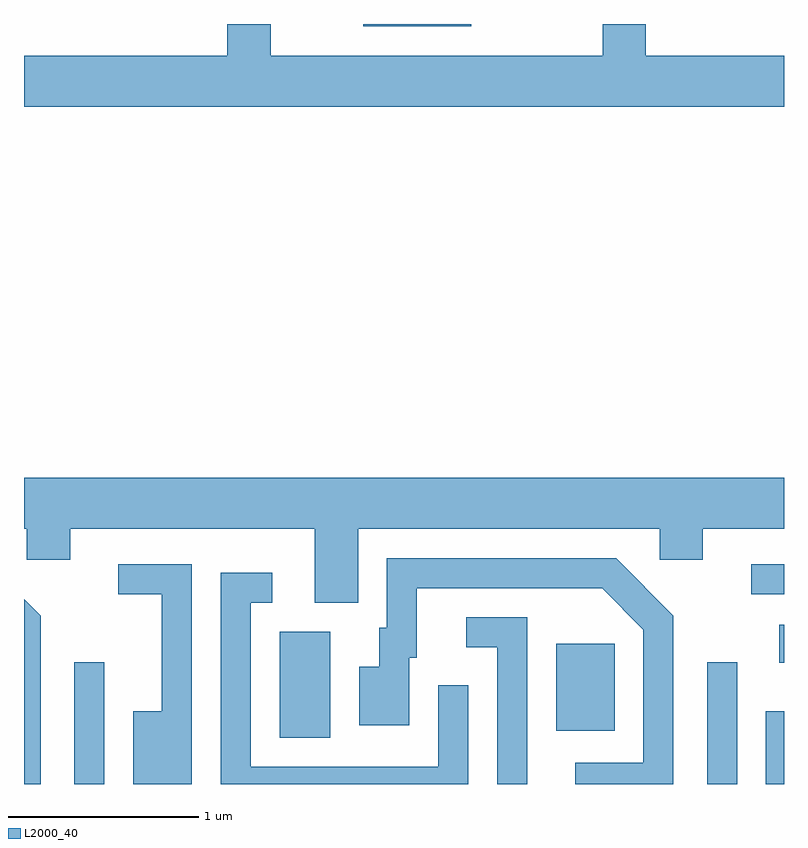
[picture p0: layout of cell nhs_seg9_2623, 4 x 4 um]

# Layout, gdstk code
import gdstk
lib = gdstk.Library(unit=1e-6, precision=1e-09)
def R(c, l, rs):  # rectangles x0, y0, x1, y1
    for r in rs: c.add(gdstk.rectangle(r[:2], r[2:], *l))
def P(c, l, *ps):  # polygons
    for p in ps: c.add(gdstk.Polygon(p, *l))
L2000_40 = (2000, 40)

nhs_seg9_2623 = lib.new_cell('nhs_seg9_2623')
R(nhs_seg9_2623, L2000_40, [(261.876,2030.432,262.034,2031.073), (265.206,2030.432,265.364,2031.073), (265.516,2030.432,265.611,2030.814), (262.956,2030.676,263.224,2031.234), (264.411,2030.711,264.719,2031.169), (265.586,2031.071,265.611,2031.269), (265.438,2031.431,265.611,2031.589), (263.396,2034.421,263.964,2034.432)])
P(nhs_seg9_2623, L2000_40, [(265.611,2034.264),(264.884,2034.264),(264.884,2034.432),(264.656,2034.432),(264.656,2034.264),(262.909,2034.264),(262.909,2034.432),(262.681,2034.432),(262.681,2034.264),(261.611,2034.264),(261.611,2033.996),(265.611,2033.996)],
  [(263.369,2031.776),(264.956,2031.776),(264.956,2031.611),(265.184,2031.611),(265.184,2031.776),(265.611,2031.776),(265.611,2032.044),(261.611,2032.044),(261.611,2031.776),(261.626,2031.776),(261.626,2031.611),(261.854,2031.611),(261.854,2031.776),(263.141,2031.776),(263.141,2031.386),(263.369,2031.386)],
  [(265.029,2031.317),(264.727,2031.619),(263.521,2031.619),(263.521,2031.254),(263.481,2031.254),(263.481,2031.049),(263.376,2031.049),(263.376,2030.741),(263.639,2030.741),(263.639,2031.096),(263.679,2031.096),(263.679,2031.461),(264.654,2031.461),(264.871,2031.244),(264.871,2030.544),(264.513,2030.544),(264.513,2030.432),(265.029,2030.432)],
  [(262.494,2031.589),(262.108,2031.589),(262.108,2031.431),(262.336,2031.431),(262.336,2030.814),(262.186,2030.814),(262.186,2030.432),(262.494,2030.432)],
  [(263.949,2030.953),(263.791,2030.953),(263.791,2030.524),(262.804,2030.524),(262.804,2031.386),(262.918,2031.386),(262.918,2031.544),(262.646,2031.544),(262.646,2030.432),(263.949,2030.432)],
  [(261.699,2031.317),(261.611,2031.405),(261.611,2030.432),(261.699,2030.432)],
  [(264.259,2031.309),(263.938,2031.309),(263.938,2031.151),(264.101,2031.151),(264.101,2030.432),(264.259,2030.432)])

lib.write_gds('nhs_seg9_2623.gds')
